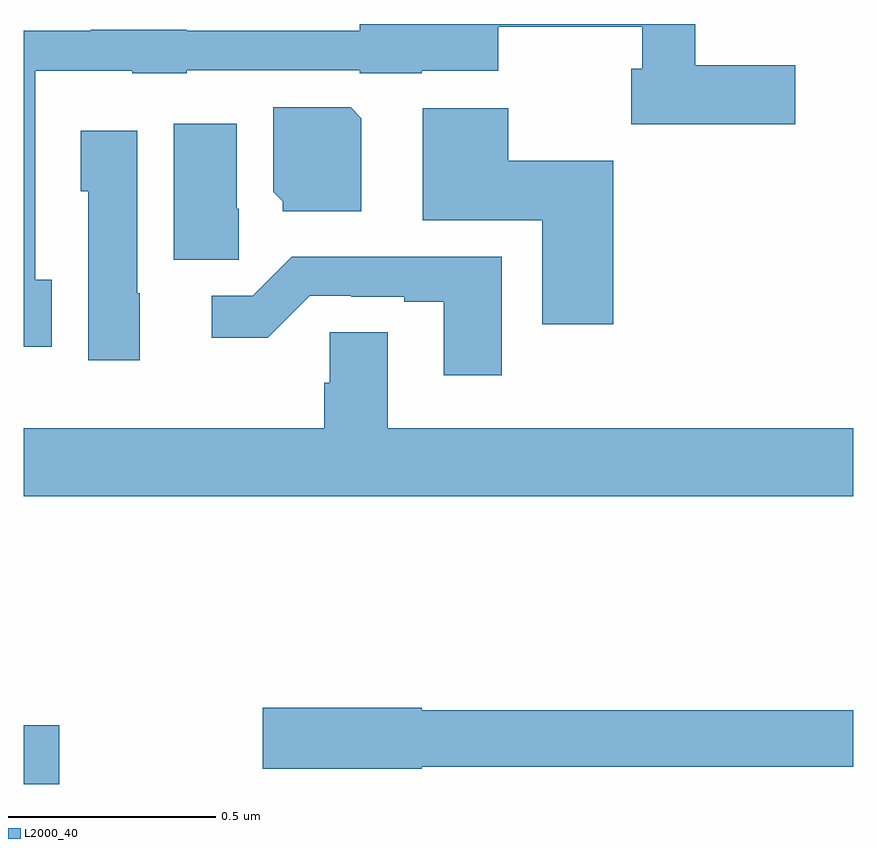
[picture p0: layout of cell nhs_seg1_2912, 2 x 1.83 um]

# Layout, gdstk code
import gdstk
lib = gdstk.Library(unit=1e-6, precision=1e-09)
def R(c, l, rs):  # rectangles x0, y0, x1, y1
    for r in rs: c.add(gdstk.rectangle(r[:2], r[2:], *l))
def P(c, l, *ps):  # polygons
    for p in ps: c.add(gdstk.Polygon(p, *l))
L2000_40 = (2000, 40)

nhs_seg1_2912 = lib.new_cell('nhs_seg1_2912')
R(nhs_seg1_2912, L2000_40, [(147,556.366,147.085,556.508)])
P(nhs_seg1_2912, L2000_40, [(147.067,557.582),(147.027,557.582),(147.027,558.086),(147.261,558.086),(147.261,558.08),(147.393,558.08),(147.393,558.087),(147.81,558.087),(147.81,558.08),(147.96,558.08),(147.96,558.086),(148.144,558.086),(148.144,558.192),(148.491,558.192),(148.491,558.091),(148.465,558.091),(148.465,557.957),(148.861,557.957),(148.861,558.099),(148.619,558.099),(148.619,558.199),(147.81,558.199),(147.81,558.183),(147.393,558.183),(147.393,558.185),(147.161,558.185),(147.161,558.183),(147,558.183),(147,557.421),(147.067,557.421)],
  [(147.814,557.972),(147.788,557.998),(147.602,557.998),(147.602,557.794),(147.624,557.772),(147.624,557.747),(147.814,557.747)],
  [(148.421,557.869),(148.168,557.869),(148.168,557.996),(147.962,557.996),(147.962,557.726),(148.25,557.726),(148.25,557.475),(148.421,557.475)],
  [(147.518,557.754),(147.514,557.754),(147.514,557.959),(147.362,557.959),(147.362,557.631),(147.518,557.631)],
  [(147.28,557.55),(147.274,557.55),(147.274,557.941),(147.137,557.941),(147.137,557.796),(147.155,557.796),(147.155,557.388),(147.28,557.388)],
  [(148.153,557.638),(147.646,557.638),(147.552,557.544),(147.453,557.544),(147.453,557.442),(147.588,557.442),(147.69,557.544),(147.79,557.544),(147.79,557.541),(147.917,557.541),(147.917,557.529),(148.013,557.529),(148.013,557.352),(148.153,557.352)],
  [(149,557.224),(147.877,557.224),(147.877,557.456),(147.738,557.456),(147.738,557.334),(147.725,557.334),(147.725,557.224),(147,557.224),(147,557.06),(149,557.06)],
  [(147.96,556.408),(149,556.408),(149,556.544),(147.96,556.544),(147.96,556.55),(147.576,556.55),(147.576,556.403),(147.96,556.403)])

lib.write_gds('nhs_seg1_2912.gds')
